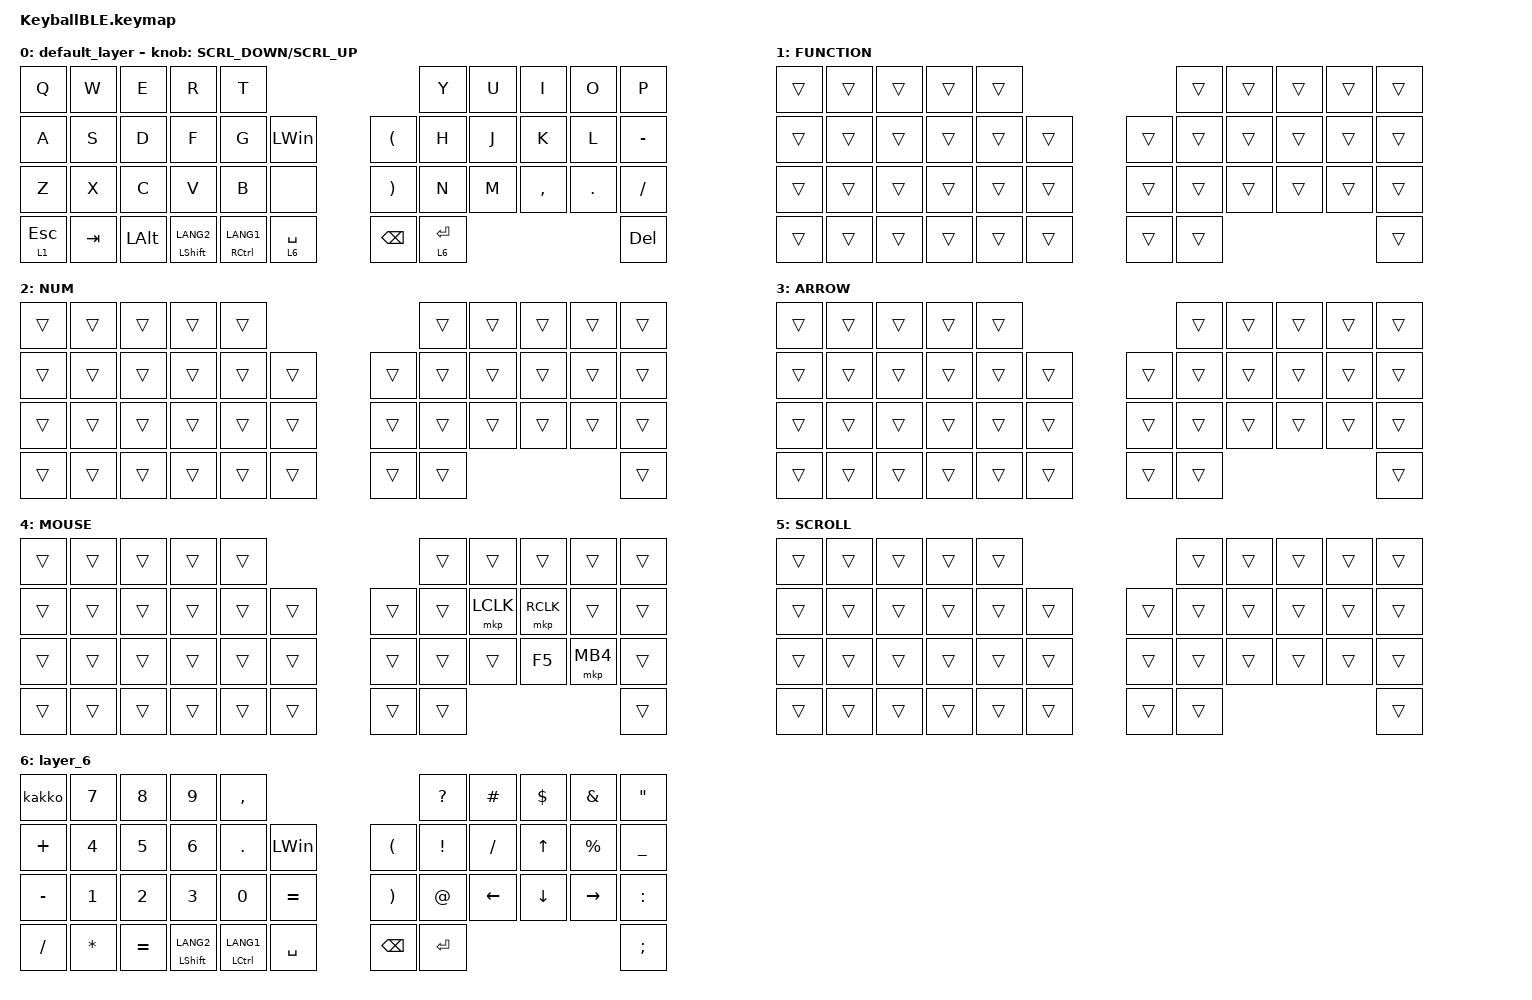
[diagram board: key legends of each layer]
#define ZMK_POINTING_DEFAULT_SCRL_VAL 120    // default: 10

#include <behaviors.dtsi>
#include <dt-bindings/zmk/keys.h>
#include <dt-bindings/zmk/pointing.h>

#define MOUSE 4
#define SCROLL 5
#define NUM 6

&mt {
    flavor = "balanced";
    quick-tap-ms = <0>;
};

/ {
    combos { compatible = "zmk,combos"; };

    macros {
        kakko: kakko {
            compatible = "zmk,behavior-macro";
            #binding-cells = <0>;
            bindings = <&kp LEFT_PARENTHESIS &kp RIGHT_PARENTHESIS>;
            label = "KAKKO";
        };
    };

    behaviors {
        lt_to_layer_0: lt_to_layer_0 {
            compatible = "zmk,behavior-hold-tap";
            label = "LAYER_TAP_TO_0";
            bindings = <&mo>, <&to_layer_0>;

            #binding-cells = <2>;
            tapping-term-ms = <200>;
        };

        ROTATE: ROTATE {
            compatible = "zmk,behavior-sensor-rotate-var";
            label = "ROTATE";
            #sensor-binding-cells = <2>;
            bindings = <&msc>, <&msc>;

            tap-ms = <20>;
        };
    };

    keymap {
        compatible = "zmk,keymap";

        default_layer {
            bindings = <
&kp Q      &kp W    &kp E         &kp R                 &kp T                                                                      &kp Y        &kp U  &kp I      &kp O    &kp P
&kp A      &kp S    &kp D         &kp F                 &kp G                    &kp LEFT_WIN                &kp LEFT_PARENTHESIS  &kp H        &kp J  &kp K      &kp L    &kp MINUS
&kp Z      &kp X    &kp C         &kp V                 &kp B                    &none                       &kp RPAR              &kp N        &kp M  &kp COMMA  &kp DOT  &kp SLASH
&lt 1 ESC  &kp TAB  &kp LEFT_ALT  &mt LEFT_SHIFT LANG2  &mt RIGHT_CONTROL LANG1  &lt_to_layer_0 6 SPACE      &kp BACKSPACE         &lt 6 ENTER                             &kp DEL
            >;

            sensor-bindings = <&ROTATE SCRL_DOWN SCRL_UP>;
        };

        FUNCTION {
            bindings = <
&trans  &trans  &trans  &trans  &trans                      &trans  &trans  &trans  &trans  &trans
&trans  &trans  &trans  &trans  &trans  &trans      &trans  &trans  &trans  &trans  &trans  &trans
&trans  &trans  &trans  &trans  &trans  &trans      &trans  &trans  &trans  &trans  &trans  &trans
&trans  &trans  &trans  &trans  &trans  &trans      &trans  &trans                          &trans
            >;
        };

        NUM {
            bindings = <
&trans  &trans  &trans  &trans  &trans                      &trans  &trans  &trans  &trans  &trans
&trans  &trans  &trans  &trans  &trans  &trans      &trans  &trans  &trans  &trans  &trans  &trans
&trans  &trans  &trans  &trans  &trans  &trans      &trans  &trans  &trans  &trans  &trans  &trans
&trans  &trans  &trans  &trans  &trans  &trans      &trans  &trans                          &trans
            >;
        };

        ARROW {
            bindings = <
&trans  &trans  &trans  &trans  &trans                      &trans  &trans  &trans  &trans  &trans
&trans  &trans  &trans  &trans  &trans  &trans      &trans  &trans  &trans  &trans  &trans  &trans
&trans  &trans  &trans  &trans  &trans  &trans      &trans  &trans  &trans  &trans  &trans  &trans
&trans  &trans  &trans  &trans  &trans  &trans      &trans  &trans                          &trans
            >;
        };

        MOUSE {
            bindings = <
&trans  &trans  &trans  &trans  &trans                      &trans  &trans     &trans     &trans    &trans
&trans  &trans  &trans  &trans  &trans  &trans      &trans  &trans  &mkp LCLK  &mkp RCLK  &trans    &trans
&trans  &trans  &trans  &trans  &trans  &trans      &trans  &trans  &trans     &kp F5     &mkp MB4  &trans
&trans  &trans  &trans  &trans  &trans  &trans      &trans  &trans                                  &trans
            >;
        };

        SCROLL {
            bindings = <
&trans  &trans  &trans  &trans  &trans                      &trans  &trans  &trans  &trans  &trans
&trans  &trans  &trans  &trans  &trans  &trans      &trans  &trans  &trans  &trans  &trans  &trans
&trans  &trans  &trans  &trans  &trans  &trans      &trans  &trans  &trans  &trans  &trans  &trans
&trans  &trans  &trans  &trans  &trans  &trans      &trans  &trans                          &trans
            >;
        };

        layer_6 {
            bindings = <
&kakko     &kp N7        &kp N8        &kp N9                &kp COMMA                                                        &kp QUESTION     &kp HASH   &kp DOLLAR  &kp AMPERSAND  &kp DOUBLE_QUOTES
&kp PLUS   &kp N4        &kp N5        &kp N6                &kp PERIOD              &kp LEFT_WIN      &kp LEFT_PARENTHESIS   &kp EXCLAMATION  &kp SLASH  &kp UP      &kp PERCENT    &kp UNDERSCORE
&kp MINUS  &kp NUMBER_1  &kp NUMBER_2  &kp NUMBER_3          &kp N0                  &kp EQUAL         &kp RIGHT_PARENTHESIS  &kp AT_SIGN      &kp LEFT   &kp DOWN    &kp RIGHT      &kp COLON
&kp SLASH  &kp ASTERISK  &kp EQUAL     &mt LEFT_SHIFT LANG2  &mt LEFT_CONTROL LANG1  &kp SPACE         &kp BACKSPACE          &kp ENTER                                              &kp SEMICOLON
            >;
        };
    };
};
